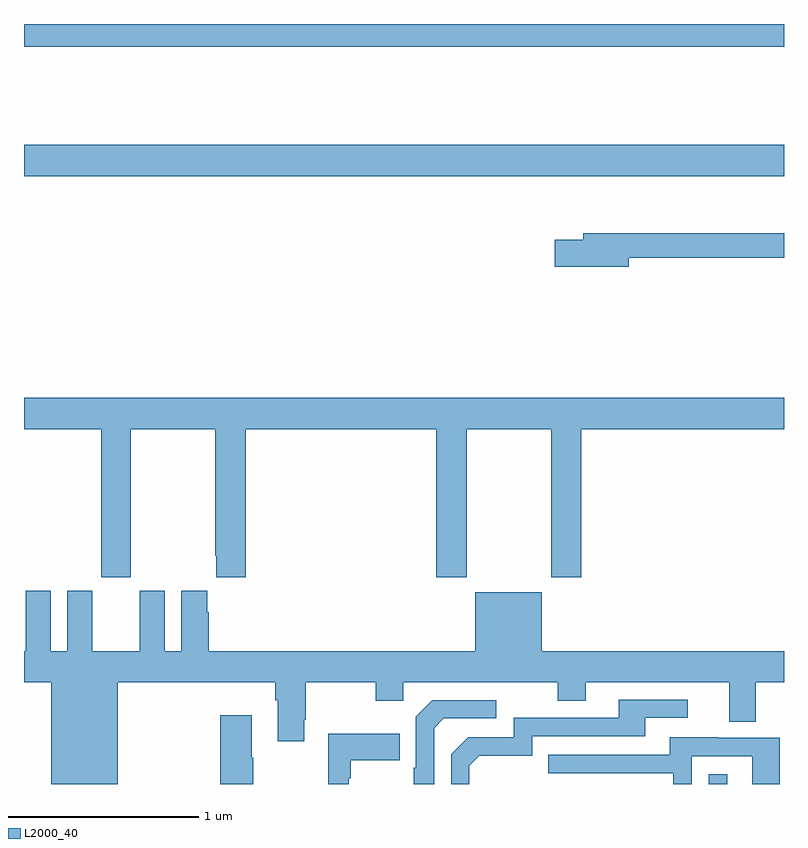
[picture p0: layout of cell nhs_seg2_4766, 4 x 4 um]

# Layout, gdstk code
import gdstk
lib = gdstk.Library(unit=1e-6, precision=1e-09)
def R(c, l, rs):  # rectangles x0, y0, x1, y1
    for r in rs: c.add(gdstk.rectangle(r[:2], r[2:], *l))
def P(c, l, *ps):  # polygons
    for p in ps: c.add(gdstk.Polygon(p, *l))
L2000_40 = (2000, 40)

nhs_seg2_4766 = lib.new_cell('nhs_seg2_4766')
R(nhs_seg2_4766, L2000_40, [(374.604,613.8,374.701,613.852), (371,617,375,617.164), (371,617.68,375,617.8)])
P(nhs_seg2_4766, L2000_40, [(374.182,616.57),(375,616.57),(375,616.699),(373.943,616.699),(373.943,616.665),(373.794,616.665),(373.794,616.523),(374.182,616.523)],
  [(371.562,615.668),(372.007,615.668),(372.007,615.001),(372.011,615.001),(372.011,614.889),(372.167,614.889),(372.167,615.668),(373.169,615.668),(373.169,614.889),(373.329,614.889),(373.329,615.668),(373.774,615.668),(373.774,614.889),(373.934,614.889),(373.934,615.668),(375,615.668),(375,615.832),(371,615.832),(371,615.668),(371.407,615.668),(371.407,614.889),(371.562,614.889)],
  [(371.494,614.336),(372.323,614.336),(372.323,614.24),(372.335,614.24),(372.335,614.025),(372.475,614.025),(372.475,614.137),(372.483,614.137),(372.483,614.336),(372.85,614.336),(372.85,614.237),(372.996,614.237),(372.996,614.336),(373.81,614.336),(373.81,614.237),(373.957,614.237),(373.957,614.336),(374.711,614.336),(374.711,614.128),(374.851,614.128),(374.851,614.336),(375,614.336),(375,614.5),(373.726,614.5),(373.726,614.809),(373.376,614.809),(373.376,614.5),(371.972,614.5),(371.972,614.705),(371.965,614.705),(371.965,614.818),(371.828,614.818),(371.828,614.5),(371.74,614.5),(371.74,614.818),(371.609,614.818),(371.609,614.5),(371.359,614.5),(371.359,614.818),(371.228,614.818),(371.228,614.5),(371.14,614.5),(371.14,614.818),(371.009,614.818),(371.009,614.5),(371,614.5),(371,614.336),(371.144,614.336),(371.144,613.8),(371.494,613.8)],
  [(373.344,613.896),(373.397,613.949),(373.674,613.949),(373.674,614.052),(374.269,614.052),(374.269,614.148),(374.494,614.148),(374.494,614.244),(374.129,614.244),(374.129,614.148),(373.578,614.148),(373.578,614.046),(373.338,614.046),(373.248,613.956),(373.248,613.8),(373.344,613.8)],
  [(373.158,614.094),(373.209,614.145),(373.486,614.145),(373.486,614.241),(373.149,614.241),(373.062,614.154),(373.062,613.885),(373.05,613.885),(373.05,613.8),(373.158,613.8)],
  [(372.207,613.937),(372.199,613.937),(372.199,614.161),(372.032,614.161),(372.032,613.8),(372.207,613.8)],
  [(372.708,613.829),(372.721,613.829),(372.721,613.925),(372.977,613.925),(372.977,614.065),(372.6,614.065),(372.6,613.8),(372.708,613.8)],
  [(374.514,613.947),(374.832,613.947),(374.832,613.8),(374.977,613.8),(374.977,614.043),(374.653,614.043),(374.653,614.047),(374.399,614.047),(374.399,613.953),(373.759,613.953),(373.759,613.857),(374.418,613.857),(374.418,613.8),(374.514,613.8)])

lib.write_gds('nhs_seg2_4766.gds')
